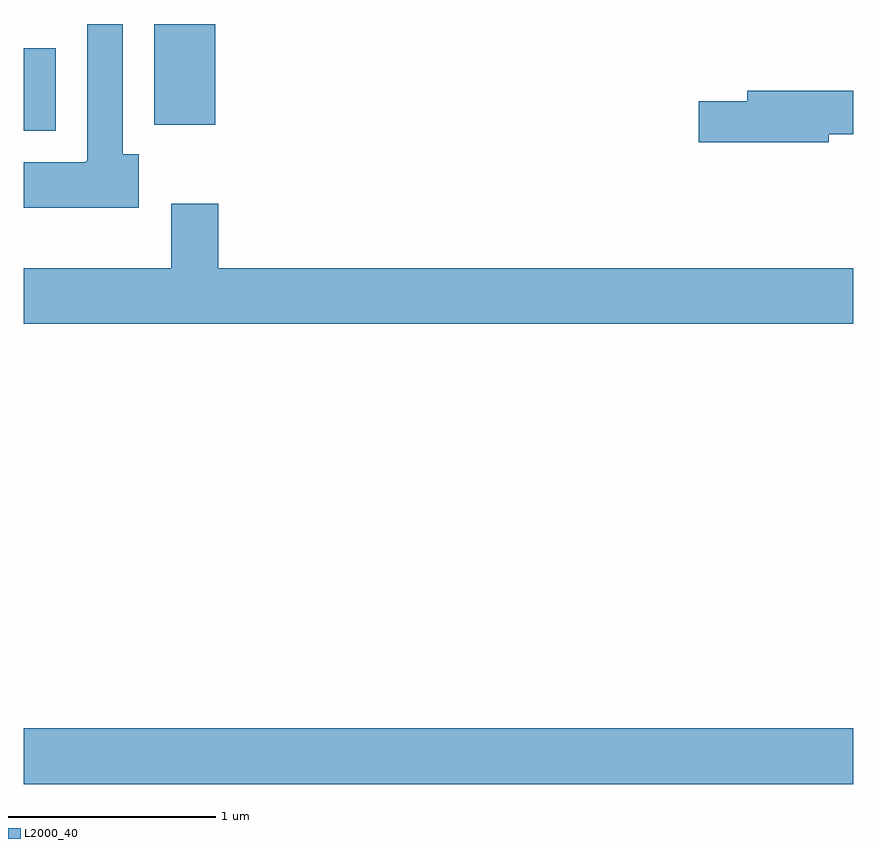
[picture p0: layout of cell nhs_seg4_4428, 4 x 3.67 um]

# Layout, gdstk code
import gdstk
lib = gdstk.Library(unit=1e-6, precision=1e-09)
def R(c, l, rs):  # rectangles x0, y0, x1, y1
    for r in rs: c.add(gdstk.rectangle(r[:2], r[2:], *l))
def P(c, l, *ps):  # polygons
    for p in ps: c.add(gdstk.Polygon(p, *l))
L2000_40 = (2000, 40)

nhs_seg4_4428 = lib.new_cell('nhs_seg4_4428')
R(nhs_seg4_4428, L2000_40, [(315.611,1270.316,319.611,1270.584), (315.611,1273.466,315.764,1273.864), (316.241,1273.496,316.534,1273.982)])
P(nhs_seg4_4428, L2000_40, [(316.164,1273.354),(316.089,1273.354),(316.089,1273.982),(315.916,1273.982),(315.916,1273.32),(315.91,1273.32),(315.91,1273.314),(315.611,1273.314),(315.611,1273.096),(316.164,1273.096)],
  [(319.494,1273.451),(319.611,1273.451),(319.611,1273.659),(319.101,1273.659),(319.101,1273.609),(318.866,1273.609),(318.866,1273.411),(319.494,1273.411)],
  [(319.611,1272.804),(316.549,1272.804),(316.549,1273.114),(316.321,1273.114),(316.321,1272.804),(315.611,1272.804),(315.611,1272.536),(319.611,1272.536)])

lib.write_gds('nhs_seg4_4428.gds')
